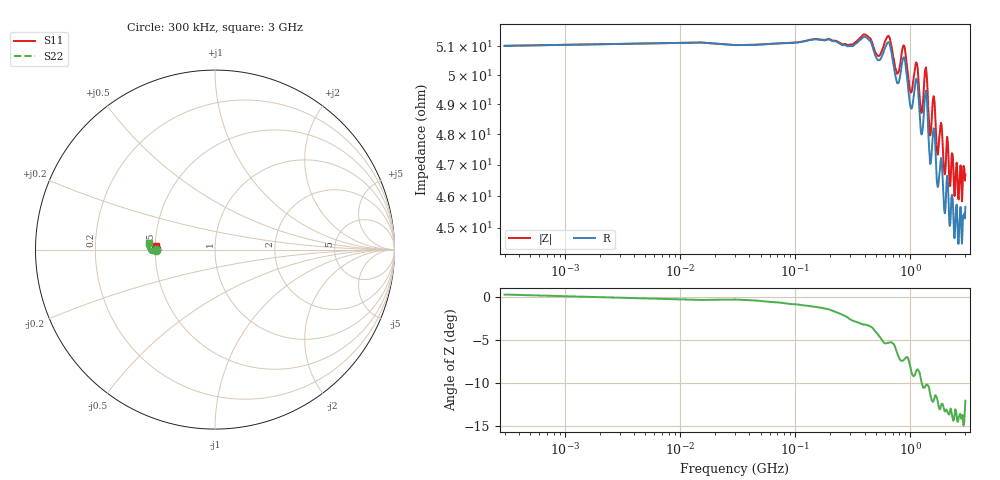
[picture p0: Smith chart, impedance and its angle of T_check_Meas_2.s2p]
# MHz S RI R 50
! S-Parameters data
! Freq  reS11  imS11  reS21  imS21  reS12  imS12  reS22  imS22
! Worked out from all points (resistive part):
!   201 points, 300 kHz to 3 GHz, reference 50 ohm
!   read as one part in shunt: R = 51.1 ohm at 15.3 MHz
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0.3  -0.3292 0.0011  0.6719 0.00211  0.6714 0.0011  -0.3302 -0.00133
510.249  -0.3326 -0.00145  0.6695 -0.0257  0.6699 -0.0267  -0.327 -0.00677
645.2355  -0.3213 -0.00279  0.6729 -0.0319  0.6735 -0.0331  -0.3336 -0.009
765.2235  -0.3374 -0.00638  0.6673 -0.0373  0.6679 -0.0385  -0.3291 -0.0125
885.2115  -0.3192 -0.00156  0.6707 -0.0453  0.6713 -0.0466  -0.3367 -0.00998
1005.199  -0.3389 -0.0092  0.664 -0.0475  0.6656 -0.0497  -0.3322 -0.0161
1125.188  -0.3178 -0.00221  0.667 -0.0542  0.669 -0.0554  -0.3407 -0.011
1245.176  -0.3426 -0.0102  0.6621 -0.0565  0.6638 -0.0589  -0.3374 -0.0205
1365.164  -0.3184 -0.000275  0.668 -0.0671  0.6714 -0.0701  -0.3464 -0.00909
1425.158  -0.3321 0.0112  0.6601 -0.0723  0.6634 -0.0746  -0.3407 -0.0099
1500.15  -0.342 -0.0125  0.6591 -0.0675  0.6635 -0.0709  -0.3452 -0.021
1605.139  -0.3176 -0.000244  0.6603 -0.0807  0.6637 -0.0833  -0.3498 -0.00433
1725.128  -0.341 -0.00467  0.6539 -0.0746  0.6584 -0.0795  -0.3488 -0.02
1860.114  -0.3166 0.00375  0.6524 -0.0875  0.6578 -0.0905  -0.351 -0.00121
2010.099  -0.3359 -0.0114  0.6528 -0.0848  0.6589 -0.0908  -0.3634 -0.00891
2100.09  -0.3194 0.000458  0.6505 -0.0939  0.6566 -0.0978  -0.3546 0.000778
2175.082  -0.3301 0.00322  0.6448 -0.0916  0.6551 -0.0949  -0.3598 -0.0136
2505.05  -0.333 0.00058  0.655 -0.0994  0.659 -0.1082  -0.3697 0.0122
2610.039  -0.326 0.000916  0.638 -0.1005  0.6581 -0.1092  -0.3649 0.0043
2760.024  -0.3315 0.00945  0.6479 -0.1124  0.66 -0.1162  -0.3688 0.0237
2880.012  -0.3265 -0.00598  0.653 -0.1038  0.6661 -0.1197  -0.3745 0.0097
3000  -0.3276 0.0193  0.6473 -0.1031  0.6621 -0.118  -0.3703 0.0342
